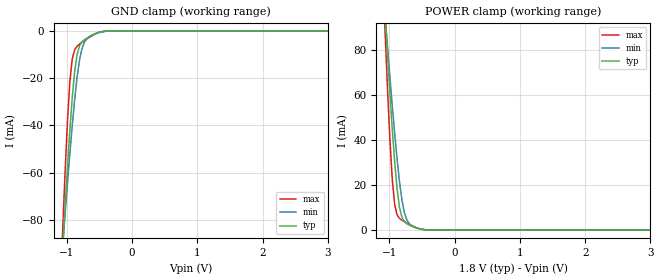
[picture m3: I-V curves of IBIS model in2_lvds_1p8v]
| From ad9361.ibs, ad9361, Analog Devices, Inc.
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|   Model: tx_input_1p8v
[Model]   in2_lvds_1p8v
Model_type Input
Vinl=0.36
Vinh=1.44
|   variable   typ   min   max
C_comp   5.374554E-13 4.573817E-13 5.723049E-13
[C Comp Corner]
C_comp   4.573817E-13 5.374554E-13 5.723049E-13
[Temperature Range]   25   85   -40
[Voltage Range]   1.8   1.71   1.89
[POWER Clamp Reference] 1.8   1.71   1.89
[GND Clamp Reference]   0   0   0
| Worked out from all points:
|   GND clamp passes 1 mA (typ) near -0.55 V on its own axis
|   POWER clamp passes 1 mA (typ) near -0.59 V on its own axis
[POWER_clamp]
| Voltage   I(typ)   I(min)   I(max)
-1.8V     500.9mA    394.8mA    683.1mA
-1.065V   96.2mA     95.19mA    87.75mA
-1.029V   78.11mA    81.43mA    62.71mA
-991.8mV  60.79mA    68.02mA    40.2mA
-955.1mV  44.57mA    55.08mA    22.22mA
-918.4mV  30.05mA    42.8mA     11.26mA
-881.6mV  18.18mA    31.45mA    6.735mA
-844.9mV  10.05mA    21.46mA    5.147mA
-808.2mV  5.712mA    13.43mA    4.348mA
-734.7mV  2.819mA    4.603mA    3.122mA
-404.1mV  36.77uA    43.4uA     30.15uA
3.6V      -1.928nA   -14.54nA   -68.14pA
[GND_clamp]
| Voltage   I(typ)   I(min)   I(max)
-1.8V     -496.1mA   -390.2mA   -678.2mA
-1.065V   -93.22mA   -91.66mA   -85.12mA
-1.029V   -75.34mA   -78.06mA   -60.45mA
-991.8mV  -58.27mA   -64.85mA   -38.6mA
-955.1mV  -42.42mA   -52.16mA   -21.69mA
-918.4mV  -28.44mA   -40.19mA   -11.92mA
-881.6mV  -17.37mA   -29.27mA   -7.968mA
-844.9mV  -10.14mA   -19.87mA   -6.455mA
-771.4mV  -4.67mA    -7.695mA   -4.82mA
-624.5mV  -1.928mA   -1.823mA   -2.147mA
-367.3mV  -24.65uA   -31.34uA   -15.47uA
3.6V      1.792nA    13.28nA    64.92pA
